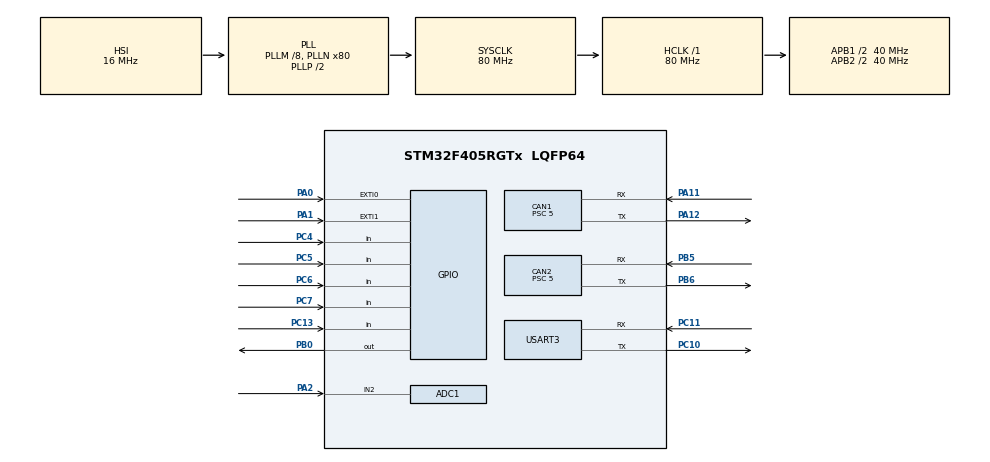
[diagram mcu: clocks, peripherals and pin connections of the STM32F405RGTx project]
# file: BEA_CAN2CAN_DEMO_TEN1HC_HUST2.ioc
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ADC1.Channel-1\#ChannelRegularConversion=ADC_CHANNEL_2
ADC1.NbrOfConversionFlag=1
ADC1.Rank-1\#ChannelRegularConversion=1
ADC1.SamplingTime-1\#ChannelRegularConversion=ADC_SAMPLETIME_3CYCLES
ADC1.master=1
CAN1.BS1=CAN_BS1_11TQ
CAN1.BS2=CAN_BS2_4TQ
CAN1.CalculateBaudRate=500000
CAN1.CalculateTimeBit=2000
CAN1.CalculateTimeQuantum=125.0
CAN1.Prescaler=5
CAN1.SJW=CAN_SJW_2TQ
CAN2.BS1=CAN_BS1_11TQ
CAN2.BS2=CAN_BS2_4TQ
CAN2.CalculateBaudRate=500000
CAN2.CalculateTimeBit=2000
CAN2.CalculateTimeQuantum=125.0
CAN2.Prescaler=5
CAN2.SJW=CAN_SJW_2TQ
Mcu.Family=STM32F4
Mcu.Name=STM32F405RGTx
Mcu.Package=LQFP64
NVIC.CAN1_RX0_IRQn=true\:2\:0\:true\:false\:true\:true\:true\:true
NVIC.CAN2_RX0_IRQn=true\:2\:0\:true\:false\:true\:true\:true\:true
NVIC.EXTI0_IRQn=true\:1\:0\:true\:false\:true\:true\:true\:true
NVIC.EXTI1_IRQn=true\:0\:0\:false\:false\:true\:true\:true\:true
NVIC.PriorityGroup=NVIC_PRIORITYGROUP_4
NVIC.USART3_IRQn=true\:1\:0\:true\:false\:true\:true\:true\:true
PA0-WKUP.GPIO_ModeDefaultEXTI=GPIO_MODE_IT_FALLING
PA0-WKUP.GPIO_PuPd=GPIO_PULLUP
PA0-WKUP.Signal=GPXTI0
PA1.GPIO_PuPd=GPIO_PULLUP
PA1.Signal=GPXTI1
PA11.Mode=CAN_Activate
PA11.Signal=CAN1_RX
PA12.Mode=CAN_Activate
PA12.Signal=CAN1_TX
PA2.Signal=ADCx_IN2
PB0.Signal=GPIO_Output
PB5.Mode=CAN_Activate
PB5.Signal=CAN2_RX
PB6.Mode=CAN_Activate
PB6.Signal=CAN2_TX
PC10.Mode=Asynchronous
PC10.Signal=USART3_TX
PC11.Mode=Asynchronous
PC11.Signal=USART3_RX
PC13-ANTI_TAMP.GPIO_PuPd=GPIO_PULLUP
PC13-ANTI_TAMP.Signal=GPIO_Input
PC4.GPIO_PuPd=GPIO_PULLUP
PC4.Signal=GPIO_Input
PC5.GPIO_PuPd=GPIO_PULLUP
PC5.Signal=GPIO_Input
PC6.GPIO_PuPd=GPIO_PULLUP
PC6.Signal=GPIO_Input
PC7.GPIO_PuPd=GPIO_PULLUP
PC7.Signal=GPIO_Input
PH0-OSC_IN.Mode=HSE-External-Oscillator
PH0-OSC_IN.Signal=RCC_OSC_IN
PH1-OSC_OUT.Mode=HSE-External-Oscillator
PH1-OSC_OUT.Signal=RCC_OSC_OUT
ProjectManager.HeapSize=0x200
ProjectManager.StackSize=0x400
ProjectManager.TargetToolchain=STM32CubeIDE
RCC.48MHZClocksFreq_Value=40000000
RCC.AHBFreq_Value=80000000
RCC.APB1CLKDivider=RCC_HCLK_DIV2
RCC.APB1Freq_Value=40000000
RCC.APB1TimFreq_Value=80000000
RCC.APB2CLKDivider=RCC_HCLK_DIV2
RCC.APB2Freq_Value=40000000
RCC.APB2TimFreq_Value=80000000
RCC.CortexFreq_Value=80000000
RCC.HCLKFreq_Value=80000000
RCC.HSE_VALUE=8000000
RCC.HSI_VALUE=16000000
RCC.LSE_VALUE=32768
RCC.PLLM=8
RCC.PLLN=80
RCC.SYSCLKFreq_VALUE=80000000
RCC.SYSCLKSource=RCC_SYSCLKSOURCE_PLLCLK
RCC.VCOOutputFreq_Value=160000000
SH.ADCx_IN2.0=ADC1_IN2,IN2
USART3.VirtualMode=VM_ASYNC
board=custom

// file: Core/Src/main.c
/* USER CODE BEGIN Header */
/**
  ******************************************************************************
  * @file           : main.c
  * @brief          : Main program body
  ******************************************************************************
  * @attention
  *
  * Copyright (c) 2023 STMicroelectronics.
  * All rights reserved.
  *
  * This software is licensed under terms that can be found in the LICENSE file
  * in the root directory of this software component.
  * If no LICENSE file comes with this software, it is provided AS-IS.
  *
  ******************************************************************************
  */
/* USER CODE END Header */
#include "main.h"

/* USER CODE BEGIN Includes */
#include "dcm.h"
#include "dcm_rdbi.h"
#include "dcm_wdbi.h"
#include "dcm_seca.h"
#include <stdbool.h>

/* USER CODE END Includes */

ADC_HandleTypeDef hadc1;

CAN_HandleTypeDef hcan1;
CAN_HandleTypeDef hcan2;

UART_HandleTypeDef huart3;

/* USER CODE BEGIN PV */
uint8_t uart3_receive;

CAN_HandleTypeDef hcan1;
CAN_HandleTypeDef hcan2;
CAN_TxHeaderTypeDef CAN1_pHeader;
CAN_RxHeaderTypeDef CAN1_pHeaderRx;
CAN_FilterTypeDef CAN1_sFilterConfig;
CAN_TxHeaderTypeDef CAN2_pHeader;
CAN_RxHeaderTypeDef CAN2_pHeaderRx;
CAN_FilterTypeDef CAN2_sFilterConfig;
uint32_t CAN1_pTxMailbox;
uint32_t CAN2_pTxMailbox;

uint16_t NumBytesReq = 0;
uint8_t  REQ_BUFFER  [4096];
uint8_t  REQ_1BYTE_DATA;

uint8_t CAN1_DATA_TX[8] = {0x00,0x00,0x00,0x00,0x00,0x00,0x00,0x00};
uint8_t CAN1_DATA_RX[8] = {0x00,0x00,0x00,0x00,0x00,0x00,0x00,0x00};
uint8_t CAN2_DATA_TX[8] = {0x00,0x00,0x00,0x00,0x00,0x00,0x00,0x00};
uint8_t CAN2_DATA_RX[8] = {0x00,0x00,0x00,0x00,0x00,0x00,0x00,0x00};

uint16_t Num_Consecutive_Tester;
uint8_t  Flg_Consecutive = 0;

uint8_t msg_counter = 0;
uint8_t prev_msg_counter = 0;

uint16_t ECU_ID = 0x0712;
uint16_t Tester_ID = 0x07A2;

uint8_t block_size = 0x08;
uint8_t ST_min = 0x19; //25 in decimal

uint8_t consecutive_sequence_number = 0;

typedef enum{
	STATE_PREPARING_FOR_CAN2_TRANSMISSION,
	STATE_CAN2_TRANSMISSION,
	STATE_READING_CAN1_RECEPTION,
	STATE_PREPARING_FOR_CAN1_TRANSMISSION,
	STATE_CAN1_TRANSMISSION,
	STATE_PREPARING_FOR_CAN2_FLOW_CONTROL,
	STATE_PREPARING_FOR_CAN1_CONSECUTIVE_FRAME,
	STATE_PREPARING_FOR_CAN2_FIRST_FRAME,
	STATE_PREPARING_FOR_CAN1_FLOW_CONTROL,
	STATE_PREPARING_FOR_CAN2_CONSECUTIVE_FRAME,
	STATE_PREPARING_FOR_CAN1_SINGLE_FRAME
}SystemState;

SystemState currentState = STATE_PREPARING_FOR_CAN2_TRANSMISSION;
unsigned int TimeStamp;
// maximum characters send out via UART is 30
char bufsend[32]="XXX: D1 D2 D3 D4 D5 D6 D7 D8  ";
bool falsecounter = false;
bool falsesum = false;

#define UART_RX_BUFFER_SIZE 100
uint8_t uart_rx_buffer[UART_RX_BUFFER_SIZE];
uint8_t uart_rx_index = 0;
uint8_t uart_byte;
uint8_t parsed_values_from_uart_count = 0;
uint8_t parsed_values_from_uart[20];

uint8_t seed[6];
uint8_t key[6];
uint8_t key_from_user[6];
uint8_t SID;

bool seed_sent;
bool security_access_granted;
/* USER CODE END PV */

void SystemClock_Config(void);
static void MX_GPIO_Init(void);
static void MX_CAN1_Init(void);
static void MX_CAN2_Init(void);
static void MX_USART3_UART_Init(void);
static void MX_ADC1_Init(void);
/* USER CODE BEGIN PFP */
void MX_CAN1_Setup();
void MX_CAN2_Setup();
void USART3_SendString(uint8_t *ch);
void PrintCANLog(uint16_t CANID, uint8_t * CAN_Frame);

void delay(uint16_t delay);
/* USER CODE END PFP */

/* USER CODE BEGIN 0 */
//Đây là callback, chạy sau khi node 1 hoặc node 2 nhận dữ liệu

void HAL_CAN_RxFifo0MsgPendingCallback(CAN_HandleTypeDef *hcan)
{
    CAN_RxHeaderTypeDef rxHeader;
    uint8_t rxData[8];

    HAL_CAN_GetRxMessage(hcan, CAN_RX_FIFO0, &rxHeader, rxData);
    if (hcan->Instance == CAN1) {
        if (currentState == STATE_CAN2_TRANSMISSION){
        	for (uint8_t i = 0; i < 8; i++){
        		CAN1_DATA_RX[i] = rxData[i];
        	}
        if ((CAN1_DATA_RX[0] >> 4) == 0x00) currentState = STATE_READING_CAN1_RECEPTION;
        if ((CAN1_DATA_RX[0] >> 4) == 0x01) currentState = STATE_PREPARING_FOR_CAN1_FLOW_CONTROL;
        if ((CAN1_DATA_RX[0] >> 4) == 0x02) currentState = STATE_PREPARING_FOR_CAN1_SINGLE_FRAME;
        if ((CAN1_DATA_RX[0] >> 4) == 0x03) currentState = STATE_PREPARING_FOR_CAN1_CONSECUTIVE_FRAME;

    }
    }
    if (hcan->Instance == CAN2) {
        if (currentState == STATE_CAN1_TRANSMISSION){
        	for (uint8_t i = 0; i < 8; i++){
        		CAN2_DATA_RX[i] = rxData[i];
        	}
        if ((CAN2_DATA_RX[0] >> 4) == 0x00) currentState = STATE_PREPARING_FOR_CAN2_TRANSMISSION;
        if ((CAN2_DATA_RX[0] >> 4) == 0x01) currentState = STATE_PREPARING_FOR_CAN2_FLOW_CONTROL;
        if ((CAN2_DATA_RX[0] >> 4) == 0x02) currentState = STATE_PREPARING_FOR_CAN2_TRANSMISSION;
        if ((CAN2_DATA_RX[0] >> 4) == 0x03) currentState = STATE_PREPARING_FOR_CAN2_CONSECUTIVE_FRAME;

        }

    }
}

void set_LED (bool LED_State) {
	if (LED_State) HAL_GPIO_WritePin(GPIOB, GPIO_PIN_0, GPIO_PIN_SET);
	else HAL_GPIO_WritePin(GPIOB, GPIO_PIN_0, GPIO_PIN_RESET);
}

// button interupt IG_OFF -> IG_ON
uint32_t last_debounce_time = 0;

void HAL_GPIO_EXTI_Callback(uint16_t GPIO_Pin)
{
  if (GPIO_Pin == GPIO_PIN_1) {
    if (HAL_GetTick() - last_debounce_time > 200) // 200ms debounce
    {
      last_debounce_time = HAL_GetTick();

      USART3_SendString((uint8_t *)"IG OFF ");

      MX_CAN1_Setup();
      MX_CAN2_Setup();
      USART3_SendString((uint8_t *)"-> IG ON \n");
    }
  }
}
/* USER CODE END 0 */

int main(void)
{
  /* USER CODE BEGIN 1 */
	uint16_t i,j = 0;
	uint16_t Consecutive_Cntr = 0;
  /* USER CODE END 1 */

  /* MCU Configuration--------------------------------------------------------*/

  /* Reset of all peripherals, Initializes the Flash interface and the Systick. */
  HAL_Init();

  /* Configure the system clock */
  SystemClock_Config();

  /* Initialize all configured peripherals */
  MX_GPIO_Init();
  MX_CAN1_Init();
  MX_CAN2_Init();
  MX_USART3_UART_Init();
  MX_ADC1_Init();
  /* USER CODE BEGIN 2 */
  MX_CAN1_Setup();
  MX_CAN2_Setup();
  __HAL_UART_ENABLE_IT(&huart3, UART_IT_RXNE);
  HAL_UART_Receive_IT(&huart3, &REQ_1BYTE_DATA, 1);
  /* USER CODE END 2 */

  /* Infinite loop */
  /* USER CODE BEGIN WHILE */
  // Example Function to print can message via uart

  while (1)
  {
	  set_LED(security_access_granted);
	  switch (currentState){
			case STATE_PREPARING_FOR_CAN2_TRANSMISSION:
				//Từ các giá trị lấy được ở UART, xây dựng CAN_frame
				if (NumBytesReq != 0){
					HAL_Delay(200);

					if (REQ_BUFFER[0] == 0x27 && REQ_BUFFER[1] == 0x02 && NumBytesReq == 8){
		  				currentState = STATE_PREPARING_FOR_CAN2_FIRST_FRAME;
		  				break;
					}

					prepare_CAN_TX_frame(CAN2_DATA_TX, REQ_BUFFER, NumBytesReq);
					//Gửi CAN_frame
					currentState = STATE_CAN2_TRANSMISSION;
					CAN2_SendMessage(CAN2_DATA_TX);
				    USART3_SendString((uint8_t *)"TESTER: ");
					PrintCANLog(CAN2_pHeader.StdId, CAN2_DATA_TX);
					memset(REQ_BUFFER, 0, 20);
					NumBytesReq = 0;
				}

				break;

	  		case STATE_CAN2_TRANSMISSION:
	  			break;

	  		case STATE_PREPARING_FOR_CAN2_FIRST_FRAME:
	  			currentState = STATE_CAN2_TRANSMISSION;

				//Từ các giá trị lấy được ở UART, xây dựng CAN_frame
				prepare_CAN_First_Frame(CAN2_DATA_TX, REQ_BUFFER, NumBytesReq);
				//Gửi CAN_frame
				CAN2_SendMessage(CAN2_DATA_TX);
			    USART3_SendString((uint8_t *)"TESTER: ");
				PrintCANLog(CAN2_pHeader.StdId, CAN2_DATA_TX);
				break;

	  		case STATE_PREPARING_FOR_CAN2_FLOW_CONTROL:
	  			currentState = STATE_CAN2_TRANSMISSION;
	  			prepare_CAN_Flow_Control_Frame (CAN2_DATA_TX);
	  			CAN2_SendMessage(CAN2_DATA_TX);
			    USART3_SendString((uint8_t *)"TESTER: ");
	  			PrintCANLog(CAN2_pHeader.StdId, CAN2_DATA_TX);
	  			break;

	  		case STATE_PREPARING_FOR_CAN2_CONSECUTIVE_FRAME:
	  			currentState = STATE_CAN2_TRANSMISSION;
	  			prepare_CAN_Consecutive_Frames(CAN2_DATA_TX, &REQ_BUFFER[6], 2);
				memset(REQ_BUFFER, 0, 20);
				NumBytesReq = 0;
	  			break;

	  		case STATE_READING_CAN1_RECEPTION:
	  			/*
	  			 * Đọc CAN_Frame nhận được
	  			 * CAN_Frame[0] chứa số phần tử ở đằng sau
	  			 * CAN_Frame[1] chứa mã lệnh (SID) -> so sánh mã lệnh này có phải 1 trong 3 mã lệnh 22 27 2E không,
	  			 * 	-> Nếu không: reset state machine và break
	  			 * 	-> Nếu có: Đưa vào phương trình phân tích lệnh 22 27 2E
	  			 */
	  			switch (CAN1_DATA_RX[1]) {
					case 0x22:
						currentState = STATE_PREPARING_FOR_CAN1_TRANSMISSION;
						SID_22_Practice();
						break;
					case 0x27:
						currentState = STATE_PREPARING_FOR_CAN1_TRANSMISSION;
						SID_27_Practice();
						break;
					case 0x2E:
						currentState = STATE_PREPARING_FOR_CAN1_TRANSMISSION;
						SID_2E_Practice();
						break;
					default:
						currentState = STATE_PREPARING_FOR_CAN2_TRANSMISSION;
						break;
				}
	  			break;

	  		case STATE_PREPARING_FOR_CAN1_CONSECUTIVE_FRAME:
	  			if (((CAN1_DATA_RX[0]) & 0x0F) == 0x02) currentState = STATE_PREPARING_FOR_CAN2_TRANSMISSION;
	  			if (((CAN1_DATA_RX[0]) & 0x0F) == 0x00) {currentState = STATE_CAN1_TRANSMISSION;
	  				SID_27_Practice();
	  			}
	  			break;

	  		case STATE_PREPARING_FOR_CAN1_FLOW_CONTROL:
	  			currentState = STATE_CAN1_TRANSMISSION;
	  			SID_27_Practice();
				CAN1_SendMessage(CAN1_DATA_TX);
			    USART3_SendString((uint8_t *)"ECU: ");
				PrintCANLog(CAN1_pHeader.StdId, CAN1_DATA_TX);
				break;

	  		case STATE_PREPARING_FOR_CAN1_SINGLE_FRAME:
	  			currentState = STATE_CAN1_TRANSMISSION;
	  			SID_27_Practice();
	  			CAN1_SendMessage(CAN1_DATA_TX);
			    USART3_SendString((uint8_t *)"ECU: ");
	  		    PrintCANLog(CAN1_pHeader.StdId, CAN1_DATA_TX);
	  		    break;

	  		case STATE_PREPARING_FOR_CAN1_TRANSMISSION:
	  			currentState = STATE_CAN1_TRANSMISSION;
	  			CAN1_SendMessage(CAN1_DATA_TX);
			    USART3_SendString((uint8_t *)"ECU: ");
	  			PrintCANLog(CAN1_pHeader.StdId, CAN1_DATA_TX);
	  			break;

	  		case STATE_CAN1_TRANSMISSION:
	  			break;

	  	}
    /* USER CODE END WHILE */

  }
}

void SystemClock_Config(void)
{
  RCC_OscInitTypeDef RCC_OscInitStruct = {0};
  RCC_ClkInitTypeDef RCC_ClkInitStruct = {0};

  /** Configure the main internal regulator output voltage
  */
  __HAL_RCC_PWR_CLK_ENABLE();
  __HAL_PWR_VOLTAGESCALING_CONFIG(PWR_REGULATOR_VOLTAGE_SCALE1);

  /** Initializes the RCC Oscillators according to the specified parameters
  * in the RCC_OscInitTypeDef structure.
  */
  RCC_OscInitStruct.OscillatorType = RCC_OSCILLATORTYPE_HSI;
  RCC_OscInitStruct.HSIState = RCC_HSI_ON;
  RCC_OscInitStruct.HSICalibrationValue = RCC_HSICALIBRATION_DEFAULT;
  RCC_OscInitStruct.PLL.PLLState = RCC_PLL_ON;
  RCC_OscInitStruct.PLL.PLLSource = RCC_PLLSOURCE_HSI;
  RCC_OscInitStruct.PLL.PLLM = 8;
  RCC_OscInitStruct.PLL.PLLN = 80;
  RCC_OscInitStruct.PLL.PLLP = RCC_PLLP_DIV2;
  RCC_OscInitStruct.PLL.PLLQ = 4;
  if (HAL_RCC_OscConfig(&RCC_OscInitStruct) != HAL_OK)
  {
    Error_Handler();
  }

  /** Initializes the CPU, AHB and APB buses clocks
  */
  RCC_ClkInitStruct.ClockType = RCC_CLOCKTYPE_HCLK|RCC_CLOCKTYPE_SYSCLK
                              |RCC_CLOCKTYPE_PCLK1|RCC_CLOCKTYPE_PCLK2;
  RCC_ClkInitStruct.SYSCLKSource = RCC_SYSCLKSOURCE_PLLCLK;
  RCC_ClkInitStruct.AHBCLKDivider = RCC_SYSCLK_DIV1;
  RCC_ClkInitStruct.APB1CLKDivider = RCC_HCLK_DIV2;
  RCC_ClkInitStruct.APB2CLKDivider = RCC_HCLK_DIV2;

  if (HAL_RCC_ClockConfig(&RCC_ClkInitStruct, FLASH_LATENCY_2) != HAL_OK)
  {
    Error_Handler();
  }
}

static void MX_ADC1_Init(void)
{

  ADC_ChannelConfTypeDef sConfig = {0};

  /** Configure the global features of the ADC (Clock, Resolution, Data Alignment and number of conversion)
  */
  hadc1.Instance = ADC1;
  hadc1.Init.ClockPrescaler = ADC_CLOCK_SYNC_PCLK_DIV2;
  hadc1.Init.Resolution = ADC_RESOLUTION_12B;
  hadc1.Init.ScanConvMode = DISABLE;
  hadc1.Init.ContinuousConvMode = DISABLE;
  hadc1.Init.DiscontinuousConvMode = DISABLE;
  hadc1.Init.ExternalTrigConvEdge = ADC_EXTERNALTRIGCONVEDGE_NONE;
  hadc1.Init.ExternalTrigConv = ADC_SOFTWARE_START;
  hadc1.Init.DataAlign = ADC_DATAALIGN_RIGHT;
  hadc1.Init.NbrOfConversion = 1;
  hadc1.Init.DMAContinuousRequests = DISABLE;
  hadc1.Init.EOCSelection = ADC_EOC_SINGLE_CONV;
  if (HAL_ADC_Init(&hadc1) != HAL_OK)
  {
    Error_Handler();
  }

  /** Configure for the selected ADC regular channel its corresponding rank in the sequencer and its sample time.
  */
  sConfig.Channel = ADC_CHANNEL_2;
  sConfig.Rank = 1;
  sConfig.SamplingTime = ADC_SAMPLETIME_3CYCLES;
  if (HAL_ADC_ConfigChannel(&hadc1, &sConfig) != HAL_OK)
  {
    Error_Handler();
  }

}

static void MX_CAN1_Init(void)
{

  hcan1.Instance = CAN1;
  hcan1.Init.Prescaler = 5;
  hcan1.Init.Mode = CAN_MODE_NORMAL;
  hcan1.Init.SyncJumpWidth = CAN_SJW_2TQ;
  hcan1.Init.TimeSeg1 = CAN_BS1_11TQ;
  hcan1.Init.TimeSeg2 = CAN_BS2_4TQ;
  hcan1.Init.TimeTriggeredMode = DISABLE;
  hcan1.Init.AutoBusOff = DISABLE;
  hcan1.Init.AutoWakeUp = DISABLE;
  hcan1.Init.AutoRetransmission = DISABLE;
  hcan1.Init.ReceiveFifoLocked = DISABLE;
  hcan1.Init.TransmitFifoPriority = DISABLE;
  if (HAL_CAN_Init(&hcan1) != HAL_OK)
  {
    Error_Handler();
  }

}

static void MX_CAN2_Init(void)
{

  hcan2.Instance = CAN2;
  hcan2.Init.Prescaler = 5;
  hcan2.Init.Mode = CAN_MODE_NORMAL;
  hcan2.Init.SyncJumpWidth = CAN_SJW_2TQ;
  hcan2.Init.TimeSeg1 = CAN_BS1_11TQ;
  hcan2.Init.TimeSeg2 = CAN_BS2_4TQ;
  hcan2.Init.TimeTriggeredMode = DISABLE;
  hcan2.Init.AutoBusOff = DISABLE;
  hcan2.Init.AutoWakeUp = DISABLE;
  hcan2.Init.AutoRetransmission = DISABLE;
  hcan2.Init.ReceiveFifoLocked = DISABLE;
  hcan2.Init.TransmitFifoPriority = DISABLE;
  if (HAL_CAN_Init(&hcan2) != HAL_OK)
  {
    Error_Handler();
  }
  /* USER CODE BEGIN CAN2_Init 2 */
	//Cần config các setting của filter ở đây

  /* USER CODE END CAN2_Init 2 */

}

static void MX_USART3_UART_Init(void)
{

  huart3.Instance = USART3;
  huart3.Init.BaudRate = 115200;
  huart3.Init.WordLength = UART_WORDLENGTH_8B;
  huart3.Init.StopBits = UART_STOPBITS_1;
  huart3.Init.Parity = UART_PARITY_NONE;
  huart3.Init.Mode = UART_MODE_TX_RX;
  huart3.Init.HwFlowCtl = UART_HWCONTROL_NONE;
  huart3.Init.OverSampling = UART_OVERSAMPLING_16;
  if (HAL_UART_Init(&huart3) != HAL_OK)
  {
    Error_Handler();
  }

}

static void MX_GPIO_Init(void)
{
  GPIO_InitTypeDef GPIO_InitStruct = {0};

  /* GPIO Ports Clock Enable */
  __HAL_RCC_GPIOC_CLK_ENABLE();
  __HAL_RCC_GPIOH_CLK_ENABLE();
  __HAL_RCC_GPIOA_CLK_ENABLE();
  __HAL_RCC_GPIOB_CLK_ENABLE();

  /*Configure GPIO pin Output Level */
  HAL_GPIO_WritePin(GPIOB, GPIO_PIN_0, GPIO_PIN_RESET);

  /*Configure GPIO pins : PC13 PC4 PC5 PC6
                           PC7 */
  GPIO_InitStruct.Pin = GPIO_PIN_13|GPIO_PIN_4|GPIO_PIN_5|GPIO_PIN_6
                          |GPIO_PIN_7;
  GPIO_InitStruct.Mode = GPIO_MODE_INPUT;
  GPIO_InitStruct.Pull = GPIO_PULLUP;
  HAL_GPIO_Init(GPIOC, &GPIO_InitStruct);

  /*Configure GPIO pin : PA0 */
  GPIO_InitStruct.Pin = GPIO_PIN_0;
  GPIO_InitStruct.Mode = GPIO_MODE_IT_FALLING;
  GPIO_InitStruct.Pull = GPIO_PULLUP;
  HAL_GPIO_Init(GPIOA, &GPIO_InitStruct);

  /*Configure GPIO pin : PA1 */
  GPIO_InitStruct.Pin = GPIO_PIN_1;
  GPIO_InitStruct.Mode = GPIO_MODE_IT_RISING;
  GPIO_InitStruct.Pull = GPIO_PULLUP;
  HAL_GPIO_Init(GPIOA, &GPIO_InitStruct);

  /*Configure GPIO pin : PB0 */
  GPIO_InitStruct.Pin = GPIO_PIN_0;
  GPIO_InitStruct.Mode = GPIO_MODE_OUTPUT_PP;
  GPIO_InitStruct.Pull = GPIO_NOPULL;
  GPIO_InitStruct.Speed = GPIO_SPEED_FREQ_LOW;
  HAL_GPIO_Init(GPIOB, &GPIO_InitStruct);

  /* EXTI interrupt init*/
  HAL_NVIC_SetPriority(EXTI0_IRQn, 1, 0);
  HAL_NVIC_EnableIRQ(EXTI0_IRQn);

  HAL_NVIC_SetPriority(EXTI1_IRQn, 0, 0);
  HAL_NVIC_EnableIRQ(EXTI1_IRQn);

}

/* USER CODE BEGIN 4 */

void MX_CAN1_Setup()
{
  	CAN1_sFilterConfig.SlaveStartFilterBank = 14;
	CAN1_sFilterConfig.FilterBank = 0;
	CAN1_sFilterConfig.FilterMode = CAN_FILTERMODE_IDMASK;
	CAN1_sFilterConfig.FilterScale = CAN_FILTERSCALE_32BIT;
	CAN1_sFilterConfig.FilterIdHigh = Tester_ID << 5;
	CAN1_sFilterConfig.FilterIdLow = 0x0000;
	CAN1_sFilterConfig.FilterMaskIdHigh = 0x7FF << 5;
	CAN1_sFilterConfig.FilterMaskIdLow = 0x0000;
	CAN1_sFilterConfig.FilterFIFOAssignment = CAN_FILTER_FIFO0;
	CAN1_sFilterConfig.FilterActivation = ENABLE;

	HAL_CAN_ConfigFilter(&hcan1, &CAN1_sFilterConfig);
	HAL_CAN_Start(&hcan1);
	HAL_CAN_ActivateNotification(&hcan1, CAN_IT_RX_FIFO0_MSG_PENDING);

	//Cần config header của CAN1
    CAN1_pHeader.StdId = ECU_ID;                   // Set TX message ID
    CAN1_pHeader.IDE = CAN_ID_STD;                // Use standard ID
    CAN1_pHeader.RTR = CAN_RTR_DATA;              // Sending data, not a request
    CAN1_pHeader.DLC = 8;                         // 8 bytes of data
    CAN1_pHeader.TransmitGlobalTime = DISABLE;    // No timestamping
}
void MX_CAN2_Setup()
{
	CAN2_sFilterConfig.FilterBank = 14;
	CAN2_sFilterConfig.FilterMode = CAN_FILTERMODE_IDMASK;
	CAN2_sFilterConfig.FilterScale = CAN_FILTERSCALE_32BIT;
	CAN2_sFilterConfig.FilterIdHigh = ECU_ID << 5;
	CAN2_sFilterConfig.FilterIdLow = 0x0000;
	CAN2_sFilterConfig.FilterMaskIdHigh = 0x7FF << 5;
	CAN2_sFilterConfig.FilterMaskIdLow = 0x0000;
	CAN2_sFilterConfig.FilterFIFOAssignment = CAN_FILTER_FIFO0;
	CAN2_sFilterConfig.FilterActivation = ENABLE;

	HAL_CAN_ConfigFilter(&hcan2, &CAN2_sFilterConfig);
	HAL_CAN_Start(&hcan2);
	HAL_CAN_ActivateNotification(&hcan2, CAN_IT_RX_FIFO0_MSG_PENDING);

	//Cần config header của CAN2
    CAN2_pHeader.StdId = Tester_ID;                // Set TX message ID
    CAN2_pHeader.IDE = CAN_ID_STD;                // Use standard ID
    CAN2_pHeader.RTR = CAN_RTR_DATA;              // Sending data, not a request
    CAN2_pHeader.DLC = 8;                         // 8 bytes of data
    CAN2_pHeader.TransmitGlobalTime = DISABLE;    // No timestamping
}

void USART3_SendString(uint8_t *ch)
{
   while(*ch!=0)
   {
      HAL_UART_Transmit(&huart3, ch, 1,HAL_MAX_DELAY);
      ch++;
   }
}
void PrintCANLog(uint16_t CANID, uint8_t *CAN_Frame)
{
    char bufsend[64];  // Safe enough size
    uint16_t i = 0;

    // Format timestamp
    int len = sprintf(bufsend, "%d ", TimeStamp);

    // Format CAN ID (always 3 digits, uppercase hex)
    len += sprintf(bufsend + len, "%03X: ", CANID & 0x7FF);  // mask to 11 bits

    // Format 8 bytes of CAN data
    for (i = 0; i < 8; i++) {
        len += sprintf(bufsend + len, "%02X ", CAN_Frame[i]);
    }

    // End with CRLF
    bufsend[len++] = '\r';
    bufsend[len++] = '\n';
    bufsend[len] = '\0';

    // Send over UART
    USART3_SendString((uint8_t *)bufsend);
}
void HAL_UART_RxCpltCallback(UART_HandleTypeDef *huart)
{
	REQ_BUFFER[NumBytesReq] = REQ_1BYTE_DATA;
	NumBytesReq++;
	HAL_UART_Receive_IT(&huart3, &REQ_1BYTE_DATA, 1);

	//REQ_BUFFER[7] = NumBytesReq;
}
void delay(uint16_t delay)
{
	HAL_Delay(delay);
}
/* USER CODE END 4 */

void Error_Handler(void)
{
  __disable_irq();
  while (1)
  {
  }
}
